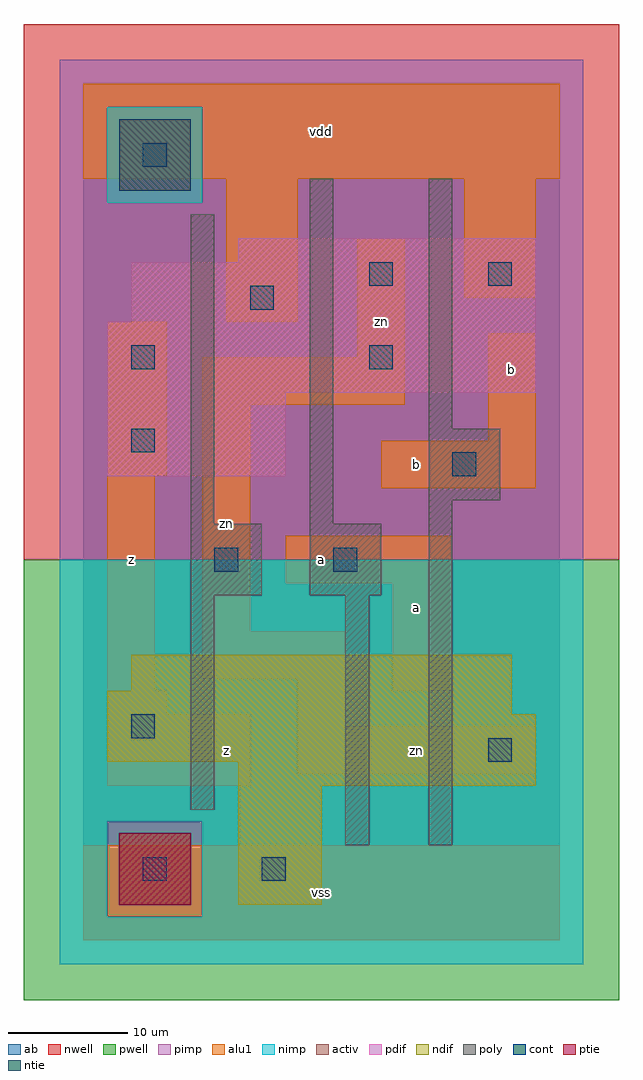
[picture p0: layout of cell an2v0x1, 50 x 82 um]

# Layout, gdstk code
import gdstk
lib = gdstk.Library(unit=1e-6, precision=1e-09)
def R(c, l, rs):  # rectangles x0, y0, x1, y1
    for r in rs: c.add(gdstk.rectangle(r[:2], r[2:], *l))
ndif = (3, 0)
pdif = (4, 0)
ntie = (5, 0)
ptie = (6, 0)
cont = (25, 0)
pwell = (41, 0)
nwell = (42, 0)
activ = (43, 0)
pimp = (44, 0)
nimp = (45, 0)
poly = (46, 0)
alu1 = (49, 0)
ab = (63, 0)

an2v0x1 = lib.new_cell('an2v0x1')
R(an2v0x1, ndif, [(13,3,20,13), (13,13,38,15), (2,15,38,19), (2,19,36,21), (4,21,36,24)])
R(an2v0x1, pdif, [(2,39,17,46), (2,46,38,52), (4,52,38,57), (13,57,38,59)])
R(an2v0x1, ntie, [(3,63,9,69)])
R(an2v0x1, ptie, [(3,3,9,9)])
R(an2v0x1, cont, [(5,5,7,7), (15,5,17,7), (34,15,36,17), (4,17,6,19), (11,31,13,33), (21,31,23,33), (31,39,33,41), (4,41,6,43), (4,48,6,50), (24,48,26,50), (14,53,16,55), (24,55,26,57), (34,55,36,57), (5,65,7,67)])
R(an2v0x1, pwell, [(-5,-5,45,32)])
R(an2v0x1, nwell, [(-5,32,45,77)])
R(an2v0x1, activ, [(3,3,9,9), (13,3,20,13), (13,13,38,15), (2,15,38,19), (2,19,36,21), (4,21,36,24), (2,39,17,46), (2,46,38,52), (4,52,38,57), (13,57,38,59), (3,63,9,69)])
R(an2v0x1, pimp, [(2,2,10,10), (-2,32,42,62), (-2,62,2,70), (10,62,42,70), (-2,70,42,74)])
R(an2v0x1, nimp, [(-2,-2,42,2), (-2,2,2,10), (10,2,42,10), (-2,10,42,32), (2,62,10,70)])
R(an2v0x1, poly, [(22,8,24,29), (29,8,31,37), (9,11,11,29), (9,29,15,35), (19,29,25,35), (9,35,11,61), (19,35,21,64), (29,37,35,43), (29,43,31,64)])
R(an2v0x1, alu1, [(0,0,40,8), (2,13,14,19), (18,14,38,18), (18,18,22,22), (2,19,7,21), (2,21,6,39), (26,21,31,30), (10,22,22,26), (10,26,14,45), (17,30,31,34), (25,38,38,42), (2,39,7,52), (34,42,38,51), (10,45,27,49), (23,49,27,59), (12,52,18,64), (32,54,38,64), (0,64,40,72)])
R(an2v0x1, ab, [(0,0,40,72)])
an2v0x1.add(gdstk.Label('zn', (12,35), layer=49, texttype=0))
an2v0x1.add(gdstk.Label('zn', (28,16), layer=49, texttype=0))
an2v0x1.add(gdstk.Label('zn', (25,52), layer=49, texttype=0))
an2v0x1.add(gdstk.Label('z', (4,32), layer=49, texttype=0))
an2v0x1.add(gdstk.Label('z', (12,16), layer=49, texttype=0))
an2v0x1.add(gdstk.Label('vss', (20,4), layer=49, texttype=0))
an2v0x1.add(gdstk.Label('a', (20,32), layer=49, texttype=0))
an2v0x1.add(gdstk.Label('a', (28,28), layer=49, texttype=0))
an2v0x1.add(gdstk.Label('b', (28,40), layer=49, texttype=0))
an2v0x1.add(gdstk.Label('vdd', (20,68), layer=49, texttype=0))
an2v0x1.add(gdstk.Label('b', (36,48), layer=49, texttype=0))

lib.write_gds('an2v0x1.gds')
